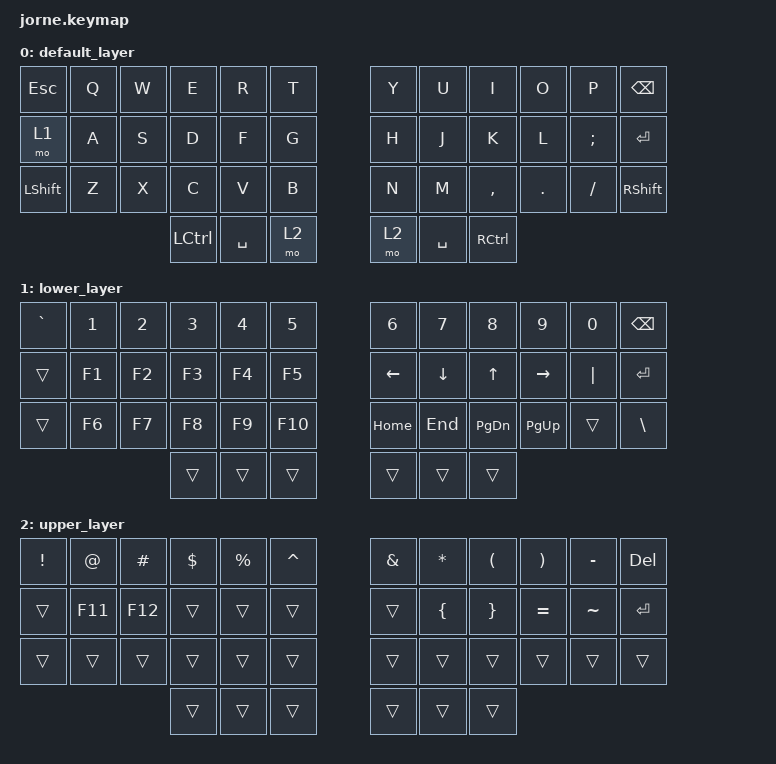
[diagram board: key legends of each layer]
// Файл: config/jorne.keymap
// Раскладка для Nijuni (42 клавиши, по 21 на половину)

#include <behaviors.dtsi>
#include <dt-bindings/zmk/keys.h>
#include <dt-bindings/zmk/bt.h>

/ {
    keymap {
        compatible = "zmk,keymap";

        // ────────────────────────────────────────────────────
        // СЛОЙ 0: Основной (QWERTY)
        // ────────────────────────────────────────────────────
        default_layer {
            bindings = <
    &kp ESC        &kp Q    &kp W    &kp E    &kp R    &kp T        &kp Y    &kp U    &kp I    &kp O    &kp P    &kp BSPC
    &mo 1          &kp A    &kp S    &kp D    &kp F    &kp G        &kp H    &kp J    &kp K    &kp L    &kp SEMI &kp RET
    &kp LSHFT      &kp Z    &kp X    &kp C    &kp V    &kp B        &kp N    &kp M    &kp COMMA &kp DOT &kp FSLH &kp RSHFT
                     &kp LCTRL &kp SPACE &mo 2                     &mo 2   &kp SPACE &kp RCTRL
            >;
        };

        // ────────────────────────────────────────────────────
        // СЛОЙ 1: Цифры, стрелки, F1-F10 (зажат "mo 1")
        // ────────────────────────────────────────────────────
        lower_layer {
            bindings = <
    &kp GRAVE   &kp N1    &kp N2  &kp N3  &kp N4   &kp N5     &kp N6  &kp N7  &kp N8   &kp N9  &kp N0  &kp BSPC
    &trans      &kp F1    &kp F2  &kp F3  &kp F4   &kp F5     &kp LEFT &kp DOWN &kp UP &kp RIGHT &kp PIPE &kp RET
    &trans      &kp F6    &kp F7  &kp F8  &kp F9   &kp F10    &kp HOME &kp END  &kp PG_DN &kp PG_UP &trans   &kp BSLH
                       &trans  &trans   &trans                     &trans   &trans   &trans
            >;
        };

        // ────────────────────────────────────────────────────
        // СЛОЙ 2: Символы, F11-F12 (зажат "mo 2")
        // ────────────────────────────────────────────────────
        upper_layer {
            bindings = <
    &kp EXCL   &kp AT   &kp HASH &kp DLLR &kp PRCNT &kp CARET    &kp AMPS &kp ASTRK &kp LPRN &kp RPRN &kp MINUS &kp DEL
    &trans     &kp F11  &kp F12  &trans  &trans   &trans        &trans   &kp LBRC &kp RBRC &kp EQL  &kp TILDE &kp RET
    &trans     &trans   &trans   &trans  &trans   &trans        &trans   &trans   &trans   &trans   &trans   &trans
                       &trans   &trans   &trans                     &trans   &trans   &trans
            >;
        };
    };
};
